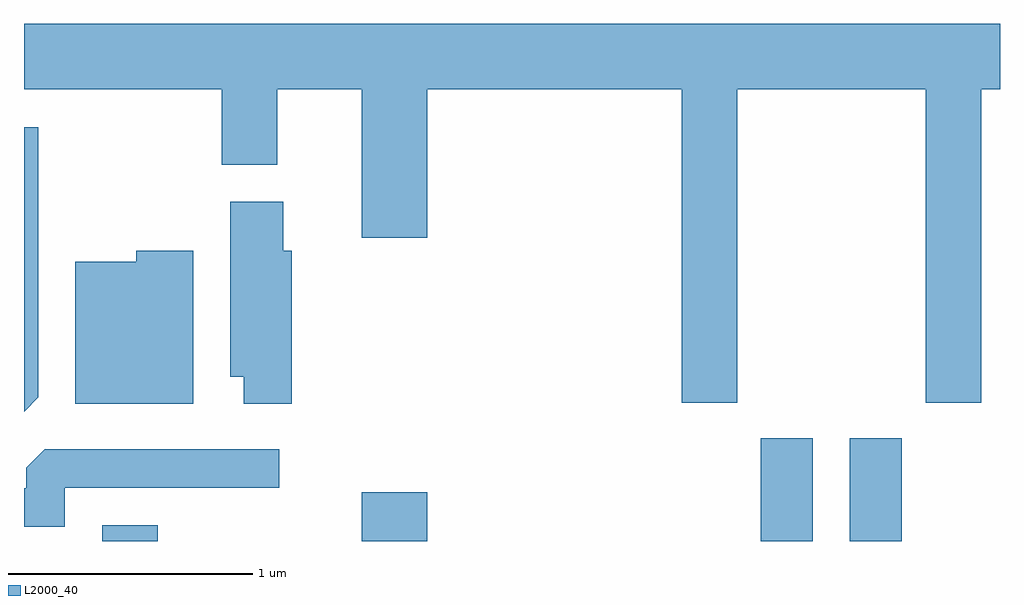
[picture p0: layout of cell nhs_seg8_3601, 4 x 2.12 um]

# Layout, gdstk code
import gdstk
lib = gdstk.Library(unit=1e-6, precision=1e-09)
def R(c, l, rs):  # rectangles x0, y0, x1, y1
    for r in rs: c.add(gdstk.rectangle(r[:2], r[2:], *l))
def P(c, l, *ps):  # polygons
    for p in ps: c.add(gdstk.Polygon(p, *l))
L2000_40 = (2000, 40)

nhs_seg8_3601 = lib.new_cell('nhs_seg8_3601')
R(nhs_seg8_3601, L2000_40, [(293.931,1832.342,294.159,1832.409), (294.996,1832.342,295.264,1832.544), (296.631,1832.342,296.844,1832.764), (296.996,1832.342,297.209,1832.764)])
P(nhs_seg8_3601, L2000_40, [(296.534,1834.196),(297.306,1834.196),(297.306,1832.911),(297.534,1832.911),(297.534,1834.196),(297.611,1834.196),(297.611,1834.464),(293.611,1834.464),(293.611,1834.196),(294.421,1834.196),(294.421,1833.886),(294.649,1833.886),(294.649,1834.196),(294.996,1834.196),(294.996,1833.586),(295.264,1833.586),(295.264,1834.196),(296.306,1834.196),(296.306,1832.911),(296.534,1832.911)],
  [(293.669,1832.932),(293.669,1834.039),(293.611,1834.039),(293.611,1832.873)],
  [(294.709,1833.534),(294.674,1833.534),(294.674,1833.734),(294.456,1833.734),(294.456,1833.016),(294.511,1833.016),(294.511,1832.906),(294.709,1832.906)],
  [(294.304,1833.534),(294.071,1833.534),(294.071,1833.489),(293.821,1833.489),(293.821,1832.906),(294.304,1832.906)],
  [(293.779,1832.561),(294.658,1832.561),(294.658,1832.719),(293.697,1832.719),(293.621,1832.644),(293.621,1832.559),(293.611,1832.559),(293.611,1832.401),(293.779,1832.401)])

lib.write_gds('nhs_seg8_3601.gds')
